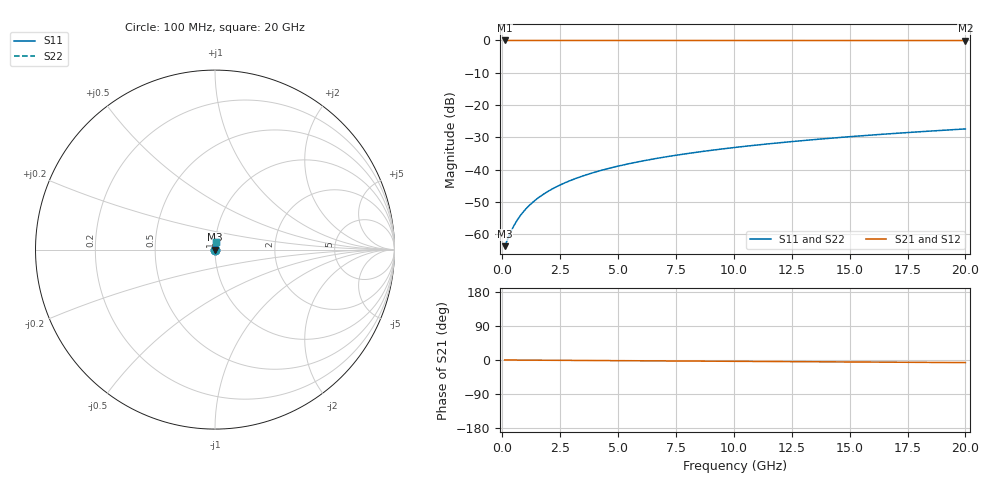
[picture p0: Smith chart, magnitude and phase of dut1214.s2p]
! Touchstone file exported from HFSS 2026.1.0
!  File:  C:/ffzhzh/LocalFiles/Ansys_Project_Files/temp_train_TSV_1214_1783192908_18472.aedt
!  Generated:  03:23:27 AM Jul  5, 2026
!  Design:  TSV
!  Project:  temp_train_TSV_1214_1783192908_18472
! Variables:
!  h_bsmrdl = 2um
!  h_ox = 20um
!  h_rdl = 5um
!  h_sub = 65.75um
!  h_tmrdl = 5um
!  h_tsv = 65.75um
!  h_via = 3um
!  l_bsmrdl = 300um
!  l_sub = 407.22um
!  l_tmrdl = 200um
!  m_sub = 200um
!  pitch = 25.02um
!  r_tsv = 3.61um
!  s_tmrdl = 10um
!  w_bsmrdl = 18um
!  w_sub = 500um
!  w_tmrdl = 12um
!  x_tsv_center1 = 206um
!  x_tsv_center2 = 524um
!  x_tsv_center3 = 736um
!  x_tsv_center4 = 1054um
!  x_tsv_center5 = 1266um
!  x_tsv_center6 = 1584um
# GHz S MA R 50.000000
! Terminal data exported
! Port[1] = TSV1_1_T1
! Port[2] = TSV1_1_T2
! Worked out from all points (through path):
!   200 points, 100 MHz to 20 GHz, reference 50 ohm
!   highest |S21| = -0.01 dB at 100 MHz (marker M1); lowest = 0.0 dB at 20 GHz (marker M2)
!   lowest |S11| = -63.6 dB at 100 MHz (marker M3), VSWR 1.00, Z = 50.1 + j0.0249 ohm
!   |S11| at or under -10 dB: start of sweep to end of sweep
!   |S22| runs from -63.6 to -27.4 dB; largest |S21 - S12| = 4.1e-15
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0.1  0.0006582 22.2  0.9994 -0.0  0.9994 -0.0  0.0006582 22.2
! Gamma 0 0 0 0
! Port Impedance 50 0 50 0
0.4  0.001158 56.0  0.9994 -0.1  0.9994 -0.1  0.001158 56.0
0.5  0.00136 61.1  0.9993 -0.2  0.9993 -0.2  0.00136 61.1
0.6  0.001568 64.8  0.9993 -0.2  0.9993 -0.2  0.001568 64.8
0.7  0.001781 67.7  0.9993 -0.2  0.9993 -0.2  0.001781 67.7
0.9  0.002217 71.8  0.9993 -0.3  0.9993 -0.3  0.002217 71.8
1.1  0.002661 74.5  0.9993 -0.4  0.9993 -0.4  0.002661 74.5
1.3  0.00311 76.4  0.9993 -0.5  0.9993 -0.5  0.00311 76.4
1.7  0.004013 78.8  0.9993 -0.6  0.9993 -0.6  0.004013 78.8
2.2  0.005146 80.5  0.9992 -0.8  0.9992 -0.8  0.005146 80.5
2.8  0.006501 81.5  0.9991 -1.0  0.9991 -1.0  0.006501 81.5
3.5  0.008071 82.1  0.999 -1.2  0.999 -1.2  0.008071 82.1
4.2  0.009626 82.4  0.9989 -1.5  0.9989 -1.5  0.009626 82.4
5  0.01138 82.5  0.9988 -1.8  0.9988 -1.8  0.01138 82.5
5.9  0.01334 82.6  0.9987 -2.1  0.9987 -2.1  0.01334 82.6
6.8  0.01527 82.5  0.9985 -2.4  0.9985 -2.4  0.01527 82.5
8.3  0.01846 82.3  0.9983 -2.9  0.9983 -2.9  0.01846 82.3
10.1  0.02225 82.0  0.998 -3.5  0.998 -3.5  0.02225 82.0
11.7  0.0256 81.8  0.9978 -4.1  0.9978 -4.1  0.0256 81.8
13.4  0.02914 81.4  0.9976 -4.6  0.9976 -4.6  0.02914 81.4
16.7  0.03599 80.7  0.9971 -5.8  0.9971 -5.8  0.03599 80.7
20  0.04279 79.8  0.9966 -6.9  0.9966 -6.9  0.04279 79.8
